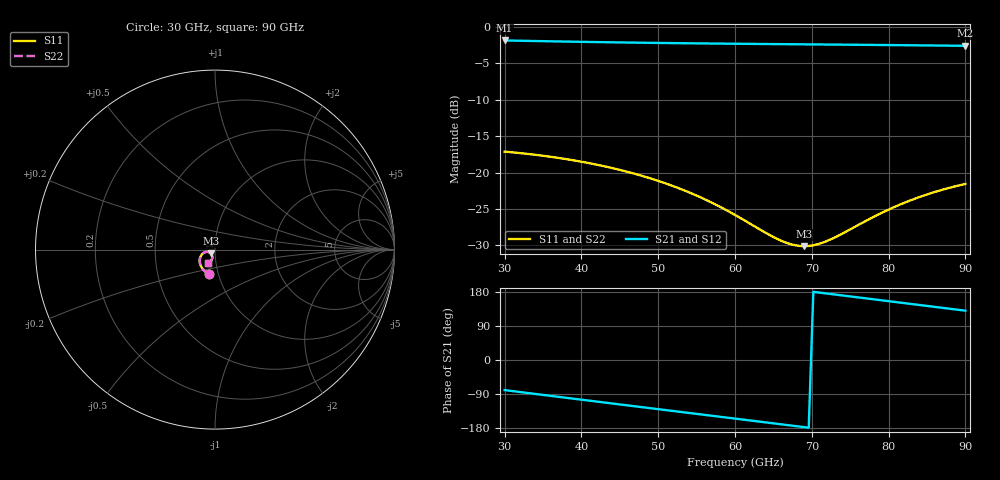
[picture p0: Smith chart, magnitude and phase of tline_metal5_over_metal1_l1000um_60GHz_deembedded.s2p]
! Created with skrf 2.2.0 (http://scikit-rf.org).
# GHz S DB R 50.0
! Port[1] = P1
! Port[2] = P2
!freq dBS11 angS11 dBS21 angS21 dBS12 angS12 dBS22 angS22
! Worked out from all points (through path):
!   101 points, 30 GHz to 90 GHz, reference 50 ohm
!   highest |S21| = -1.84 dB at 30 GHz (marker M1); lowest = -2.6 dB at 90 GHz (marker M2)
!   group delay of S21, straight-line fit = 6.95 ps
!   lowest |S11| = -30.1 dB at 69 GHz (marker M3), VSWR 1.06, Z = 47.7 - j2.06 ohm
!   |S11| at or under -10 dB: start of sweep to end of sweep
!   |S22| runs from -30.0 to -17.1 dB; largest |S21 - S12| = 5.2e-16
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30  -17.11 -103.6  -1.84 -79.4  -1.84 -79.4  -17.09 -103.6
32.4  -17.36 -110.8  -1.89 -85.5  -1.89 -85.5  -17.33 -110.8
34.8  -17.65 -117.8  -1.93 -91.6  -1.93 -91.6  -17.62 -117.8
37.2  -18.01 -124.5  -1.98 -97.7  -1.98 -97.7  -17.97 -124.5
40.2  -18.54 -132.5  -2.03 -105.2  -2.03 -105.2  -18.50 -132.5
45  -19.62 -144.4  -2.11 -117.2  -2.11 -117.2  -19.57 -144.4
47.4  -20.29 -149.8  -2.15 -123.2  -2.15 -123.2  -20.24 -149.7
50.4  -21.27 -155.8  -2.19 -130.7  -2.19 -130.7  -21.21 -155.7
55.2  -23.25 -163.1  -2.24 -142.7  -2.24 -142.7  -23.17 -163.1
60  -25.81 -165.4  -2.29 -154.7  -2.29 -154.7  -25.71 -165.4
63  -27.66 -161.8  -2.32 -162.2  -2.32 -162.2  -27.54 -162.0
66  -29.35 -152.1  -2.35 -169.7  -2.35 -169.7  -29.23 -152.5
67.8  -29.97 -143.1  -2.36 -174.2  -2.36 -174.2  -29.87 -143.7
69  -30.10 -136.3  -2.37 -177.2  -2.37 -177.2  -30.02 -137.0
70.2  -29.98 -129.6  -2.38 179.8  -2.38 179.8  -29.92 -130.3
72  -29.38 -120.8  -2.40 175.3  -2.40 175.3  -29.35 -121.5
75  -27.80 -111.3  -2.43 167.8  -2.43 167.8  -27.80 -111.8
77.4  -26.43 -108.1  -2.45 161.8  -2.45 161.8  -26.44 -108.4
80.4  -24.88 -107.6  -2.48 154.2  -2.48 154.2  -24.90 -107.8
82.8  -23.83 -109.1  -2.50 148.2  -2.50 148.2  -23.84 -109.2
85.2  -22.93 -111.6  -2.53 142.2  -2.53 142.2  -22.93 -111.7
90  -21.55 -118.5  -2.58 130.2  -2.58 130.2  -21.55 -118.5
